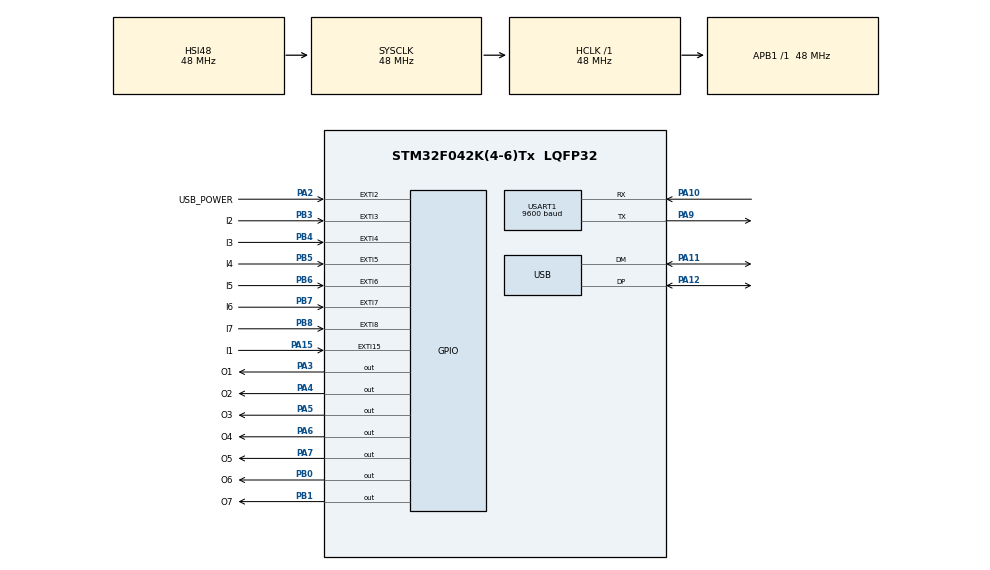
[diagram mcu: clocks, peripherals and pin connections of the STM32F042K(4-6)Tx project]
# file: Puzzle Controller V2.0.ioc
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Mcu.Family=STM32F0
Mcu.Name=STM32F042K(4-6)Tx
Mcu.Package=LQFP32
NVIC.EXTI2_3_IRQn=true\:0\:0\:false\:false\:true\:true
NVIC.EXTI4_15_IRQn=true\:0\:0\:false\:false\:true\:true
NVIC.TIM14_IRQn=true\:0\:0\:false\:false\:true\:true
NVIC.TIM16_IRQn=true\:0\:0\:false\:false\:true\:true
NVIC.USART1_IRQn=true\:0\:0\:false\:false\:true\:true
NVIC.USB_IRQn=true\:0\:0\:false\:false\:true\:false
PA10.Mode=Asynchronous
PA10.Signal=USART1_RX
PA11.Mode=Device
PA11.Signal=USB_DM
PA12.Mode=Device
PA12.Signal=USB_DP
PA15.GPIO_Label=I1
PA15.Signal=GPXTI15
PA2.GPIO_Label=USB_POWER
PA2.Signal=GPXTI2
PA3.GPIO_Label=O1
PA3.Signal=GPIO_Output
PA4.GPIO_Label=O2
PA4.Signal=GPIO_Output
PA5.GPIO_Label=O3
PA5.Signal=GPIO_Output
PA6.GPIO_Label=O4
PA6.Signal=GPIO_Output
PA7.GPIO_Label=O5
PA7.Signal=GPIO_Output
PA9.Mode=Asynchronous
PA9.Signal=USART1_TX
PB0.GPIO_Label=O6
PB0.Signal=GPIO_Output
PB1.GPIO_Label=O7
PB1.Signal=GPIO_Output
PB3.GPIO_Label=I2
PB3.Signal=GPXTI3
PB4.GPIO_Label=I3
PB4.Signal=GPXTI4
PB5.GPIO_Label=I4
PB5.Signal=GPXTI5
PB6.GPIO_Label=I5
PB6.Signal=GPXTI6
PB7.GPIO_Label=I6
PB7.Signal=GPXTI7
PB8.GPIO_Label=I7
PB8.Signal=GPXTI8
ProjectManager.HeapSize=0x200
ProjectManager.StackSize=0x400
ProjectManager.TargetToolchain=TrueSTUDIO
RCC.AHBFreq_Value=48000000
RCC.APB1Freq_Value=48000000
RCC.APB1TimFreq_Value=48000000
RCC.HCLKFreq_Value=48000000
RCC.SYSCLKFreq_VALUE=48000000
RCC.SYSCLKSource=RCC_SYSCLKSOURCE_HSI48
TIM14.Period=1000
TIM14.Prescaler=48000
TIM16.Period=100
TIM16.Prescaler=48000
USART1.BaudRate=9600
USART1.VirtualMode-Asynchronous=VM_ASYNC
USART1.WordLength=WORDLENGTH_8B
USB_DEVICE.APP_RX_DATA_SIZE=200
USB_DEVICE.APP_TX_DATA_SIZE=200
USB_DEVICE.CLASS_NAME_FS=CDC
USB_DEVICE.USBD_MAX_STR_DESC_SIZ=100
USB_DEVICE.VirtualMode=Cdc
USB_DEVICE.VirtualModeFS=Cdc_FS
VP_TIM14_VS_ClockSourceINT.Mode=Enable_Timer
VP_TIM16_VS_ClockSourceINT.Mode=Enable_Timer
VP_USB_DEVICE_VS_USB_DEVICE_CDC_FS.Mode=CDC_FS
board=Puzzle Controller V2.0

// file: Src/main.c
/**
  ******************************************************************************
  * @file           : main.c
  * @brief          : Main program body
  ******************************************************************************
  * This notice applies to any and all portions of this file
  * that are not between comment pairs USER CODE BEGIN and
  * USER CODE END. Other portions of this file, whether
  * inserted by the user or by software development tools
  * are owned by their respective copyright owners.
  *
  * Copyright (c) 2018 STMicroelectronics International N.V.
  * All rights reserved.
  *
  * Redistribution and use in source and binary forms, with or without
  * modification, are permitted, provided that the following conditions are met:
  *
  * 1. Redistribution of source code must retain the above copyright notice,
  *    this list of conditions and the following disclaimer.
  * 2. Redistributions in binary form must reproduce the above copyright notice,
  *    this list of conditions and the following disclaimer in the documentation
  *    and/or other materials provided with the distribution.
  * 3. Neither the name of STMicroelectronics nor the names of other
  *    contributors to this software may be used to endorse or promote products
  *    derived from this software without specific written permission.
  * 4. This software, including modifications and/or derivative works of this
  *    software, must execute solely and exclusively on microcontroller or
  *    microprocessor devices manufactured by or for STMicroelectronics.
  * 5. Redistribution and use of this software other than as permitted under
  *    this license is void and will automatically terminate your rights under
  *    this license.
  *
  * THIS SOFTWARE IS PROVIDED BY STMICROELECTRONICS AND CONTRIBUTORS "AS IS"
  * AND ANY EXPRESS, IMPLIED OR STATUTORY WARRANTIES, INCLUDING, BUT NOT
  * LIMITED TO, THE IMPLIED WARRANTIES OF MERCHANTABILITY, FITNESS FOR A
  * PARTICULAR PURPOSE AND NON-INFRINGEMENT OF THIRD PARTY INTELLECTUAL PROPERTY
  * RIGHTS ARE DISCLAIMED TO THE FULLEST EXTENT PERMITTED BY LAW. IN NO EVENT
  * SHALL STMICROELECTRONICS OR CONTRIBUTORS BE LIABLE FOR ANY DIRECT, INDIRECT,
  * INCIDENTAL, SPECIAL, EXEMPLARY, OR CONSEQUENTIAL DAMAGES (INCLUDING, BUT NOT
  * LIMITED TO, PROCUREMENT OF SUBSTITUTE GOODS OR SERVICES; LOSS OF USE, DATA,
  * OR PROFITS; OR BUSINESS INTERRUPTION) HOWEVER CAUSED AND ON ANY THEORY OF
  * LIABILITY, WHETHER IN CONTRACT, STRICT LIABILITY, OR TORT (INCLUDING
  * NEGLIGENCE OR OTHERWISE) ARISING IN ANY WAY OUT OF THE USE OF THIS SOFTWARE,
  * EVEN IF ADVISED OF THE POSSIBILITY OF SUCH DAMAGE.
  *
  ******************************************************************************
  */
#include "main.h"
#include "stm32f0xx_hal.h"
#include "usb_device.h"

/* USER CODE BEGIN Includes */
#include "myFunctions.h"
#include "variables.h"
#include "MP3.h"
/* USER CODE END Includes */

TIM_HandleTypeDef htim14;
TIM_HandleTypeDef htim16;

UART_HandleTypeDef huart1;

/* USER CODE BEGIN PV */
/* Private variables ---------------------------------------------------------*/

struct uart UART1;
uint8_t startTime = 0;
uint8_t SongStarted = 0;
uint8_t Button_press = 0;
/* USER CODE END PV */

void SystemClock_Config(void);
static void MX_GPIO_Init(void);
static void MX_USART1_UART_Init(void);
static void MX_TIM14_Init(void);
static void MX_TIM16_Init(void);

/* USER CODE BEGIN PFP */
/* Private function prototypes -----------------------------------------------*/
void CompareUSBdata();
/* USER CODE END PFP */

/* USER CODE BEGIN 0 */
void HAL_UART_RxCpltCallback(UART_HandleTypeDef *huart)
{
	static uint8_t i = 0;

	if(huart->Instance == USART1)
	{
		if(UART1.rxbyte != 0xEF)
		{
			UART1.rxbuffer[i] = UART1.rxbyte;
			i++;
		}
		else
		{
			strcpy(UART1.buffercopy, UART1.rxbuffer);
			memset(UART1.rxbuffer, '\0', sizeof(UART1.rxbuffer));
			UART1.dataready = TRUE;
		}
	  HAL_UART_Receive_IT(&huart1, (uint8_t*) &UART1.rxbyte, 1);
	}
}

void CompareUARTdata()
 {
	UART1.dataready = FALSE;
	memset(usb.buffer, '\0', sizeof(usb.buffer));
 }

void CompareUSBdata()
 {
	//HAL_UART_Transmit(&huart1,&usb.buffer[0],strlen(usb.buffer),100);
	if(strncmp (usb.buffer,"play",4) == 0)
	{
		MP3_play();
	}
	if(strncmp (usb.buffer,"pause", 5) == 0)
	{
		MP3_pause();
	}
	else if(strncmp (usb.buffer,"init", 4) == 0)
	{
		MP3_Init();
	}
	else if(strncmp (usb.buffer,"start", 5) == 0)
	{
		MP3_playWithIndex();
	}
	memset(usb.buffer, '\0', sizeof(usb.buffer));
 }
/* USER CODE END 0 */

int main(void)
{

  /* MCU Configuration----------------------------------------------------------*/

  /* Reset of all peripherals, Initializes the Flash interface and the Systick. */
  HAL_Init();

  /* Configure the system clock */
  SystemClock_Config();

  /* Initialize all configured peripherals */
  MX_GPIO_Init();
  MX_USART1_UART_Init();
  MX_TIM14_Init();
  MX_TIM16_Init();
  MX_USB_DEVICE_Init();
  /* USER CODE BEGIN 2 */
  HAL_TIM_Base_Start_IT(&htim14);
  HAL_UART_Receive_IT(&huart1, (uint8_t*) &UART1.rxbyte, 1);
  UART1.dataready = FALSE;
  usb.dataInBuffer = FALSE;

  Output_Write(7,1);
  tick.Value = 0;
  MP3_Init();
  /* USER CODE END 2 */
  /* Infinite loop */
  while (1)
  {

  /* USER CODE BEGIN 3 */
	if(Input_Number != 0)
	{
		switch(Input_Number)
		{
			case 1:
				Pulse(1,800);
			break;
			case 2:
				Pulse(2,800);
			break;
			case 4:
				MP3_playWithIndex();
			break;
			default:
				CDC_Transmit_FS("Input number was out of range\n",30);
				CDC_Transmit_FS(&Input_Number,1);
			break;

		}
		Input_Number = 0;
		Button_press = 0;
		tick.Value = 0;
	}
	if(tick.flag)
	{
		Button_press = 1;
		tick.flag = FALSE;
		Input_Number = PressedButton();
	}
	if(usb.dataInBuffer)
	{
		usb.dataInBuffer = FALSE;
		CompareUSBdata();
	}
	if(UART1.dataready)
	{
		CompareUARTdata();
	}

  }
  /* USER CODE END 3 */

}

void SystemClock_Config(void)
{

  RCC_OscInitTypeDef RCC_OscInitStruct;
  RCC_ClkInitTypeDef RCC_ClkInitStruct;
  RCC_PeriphCLKInitTypeDef PeriphClkInit;

    /**Initializes the CPU, AHB and APB busses clocks
    */
  RCC_OscInitStruct.OscillatorType = RCC_OSCILLATORTYPE_HSI48;
  RCC_OscInitStruct.HSI48State = RCC_HSI48_ON;
  RCC_OscInitStruct.PLL.PLLState = RCC_PLL_NONE;
  if (HAL_RCC_OscConfig(&RCC_OscInitStruct) != HAL_OK)
  {
    _Error_Handler(__FILE__, __LINE__);
  }

    /**Initializes the CPU, AHB and APB busses clocks
    */
  RCC_ClkInitStruct.ClockType = RCC_CLOCKTYPE_HCLK|RCC_CLOCKTYPE_SYSCLK
                              |RCC_CLOCKTYPE_PCLK1;
  RCC_ClkInitStruct.SYSCLKSource = RCC_SYSCLKSOURCE_HSI48;
  RCC_ClkInitStruct.AHBCLKDivider = RCC_SYSCLK_DIV1;
  RCC_ClkInitStruct.APB1CLKDivider = RCC_HCLK_DIV1;

  if (HAL_RCC_ClockConfig(&RCC_ClkInitStruct, FLASH_LATENCY_1) != HAL_OK)
  {
    _Error_Handler(__FILE__, __LINE__);
  }

  PeriphClkInit.PeriphClockSelection = RCC_PERIPHCLK_USB|RCC_PERIPHCLK_USART1;
  PeriphClkInit.Usart1ClockSelection = RCC_USART1CLKSOURCE_PCLK1;
  PeriphClkInit.UsbClockSelection = RCC_USBCLKSOURCE_HSI48;

  if (HAL_RCCEx_PeriphCLKConfig(&PeriphClkInit) != HAL_OK)
  {
    _Error_Handler(__FILE__, __LINE__);
  }

    /**Configure the Systick interrupt time
    */
  HAL_SYSTICK_Config(HAL_RCC_GetHCLKFreq()/1000);

    /**Configure the Systick
    */
  HAL_SYSTICK_CLKSourceConfig(SYSTICK_CLKSOURCE_HCLK);

  /* SysTick_IRQn interrupt configuration */
  HAL_NVIC_SetPriority(SysTick_IRQn, 0, 0);
}

/* TIM14 init function */
static void MX_TIM14_Init(void)
{

  htim14.Instance = TIM14;
  htim14.Init.Prescaler = 48000;
  htim14.Init.CounterMode = TIM_COUNTERMODE_UP;
  htim14.Init.Period = 1000;
  htim14.Init.ClockDivision = TIM_CLOCKDIVISION_DIV1;
  htim14.Init.AutoReloadPreload = TIM_AUTORELOAD_PRELOAD_DISABLE;
  if (HAL_TIM_Base_Init(&htim14) != HAL_OK)
  {
    _Error_Handler(__FILE__, __LINE__);
  }

}

/* TIM16 init function */
static void MX_TIM16_Init(void)
{

  htim16.Instance = TIM16;
  htim16.Init.Prescaler = 48000;
  htim16.Init.CounterMode = TIM_COUNTERMODE_UP;
  htim16.Init.Period = 100;
  htim16.Init.ClockDivision = TIM_CLOCKDIVISION_DIV1;
  htim16.Init.RepetitionCounter = 0;
  htim16.Init.AutoReloadPreload = TIM_AUTORELOAD_PRELOAD_DISABLE;
  if (HAL_TIM_Base_Init(&htim16) != HAL_OK)
  {
    _Error_Handler(__FILE__, __LINE__);
  }

}

/* USART1 init function */
static void MX_USART1_UART_Init(void)
{

  huart1.Instance = USART1;
  huart1.Init.BaudRate = 9600;
  huart1.Init.WordLength = UART_WORDLENGTH_8B;
  huart1.Init.StopBits = UART_STOPBITS_1;
  huart1.Init.Parity = UART_PARITY_NONE;
  huart1.Init.Mode = UART_MODE_TX_RX;
  huart1.Init.HwFlowCtl = UART_HWCONTROL_NONE;
  huart1.Init.OverSampling = UART_OVERSAMPLING_16;
  huart1.Init.OneBitSampling = UART_ONE_BIT_SAMPLE_DISABLE;
  huart1.AdvancedInit.AdvFeatureInit = UART_ADVFEATURE_NO_INIT;
  if (HAL_UART_Init(&huart1) != HAL_OK)
  {
    _Error_Handler(__FILE__, __LINE__);
  }

}

/** Configure pins as
        * Analog
        * Input
        * Output
        * EVENT_OUT
        * EXTI
*/
static void MX_GPIO_Init(void)
{

  GPIO_InitTypeDef GPIO_InitStruct;

  /* GPIO Ports Clock Enable */
  __HAL_RCC_GPIOA_CLK_ENABLE();
  __HAL_RCC_GPIOB_CLK_ENABLE();

  /*Configure GPIO pin Output Level */
  HAL_GPIO_WritePin(GPIOA, O1_Pin|O2_Pin|O3_Pin|O4_Pin
                          |O5_Pin, GPIO_PIN_RESET);

  /*Configure GPIO pin Output Level */
  HAL_GPIO_WritePin(GPIOB, O6_Pin|O7_Pin, GPIO_PIN_RESET);

  /*Configure GPIO pins : USB_POWER_Pin I1_Pin */
  GPIO_InitStruct.Pin = USB_POWER_Pin|I1_Pin;
  GPIO_InitStruct.Mode = GPIO_MODE_IT_RISING;
  GPIO_InitStruct.Pull = GPIO_NOPULL;
  HAL_GPIO_Init(GPIOA, &GPIO_InitStruct);

  /*Configure GPIO pins : O1_Pin O2_Pin O3_Pin O4_Pin
                           O5_Pin */
  GPIO_InitStruct.Pin = O1_Pin|O2_Pin|O3_Pin|O4_Pin
                          |O5_Pin;
  GPIO_InitStruct.Mode = GPIO_MODE_OUTPUT_PP;
  GPIO_InitStruct.Pull = GPIO_NOPULL;
  GPIO_InitStruct.Speed = GPIO_SPEED_FREQ_LOW;
  HAL_GPIO_Init(GPIOA, &GPIO_InitStruct);

  /*Configure GPIO pins : O6_Pin O7_Pin */
  GPIO_InitStruct.Pin = O6_Pin|O7_Pin;
  GPIO_InitStruct.Mode = GPIO_MODE_OUTPUT_PP;
  GPIO_InitStruct.Pull = GPIO_NOPULL;
  GPIO_InitStruct.Speed = GPIO_SPEED_FREQ_LOW;
  HAL_GPIO_Init(GPIOB, &GPIO_InitStruct);

  /*Configure GPIO pins : I2_Pin I3_Pin I4_Pin I5_Pin
                           I6_Pin I7_Pin */
  GPIO_InitStruct.Pin = I2_Pin|I3_Pin|I4_Pin|I5_Pin
                          |I6_Pin|I7_Pin;
  GPIO_InitStruct.Mode = GPIO_MODE_IT_RISING;
  GPIO_InitStruct.Pull = GPIO_NOPULL;
  HAL_GPIO_Init(GPIOB, &GPIO_InitStruct);

  /* EXTI interrupt init*/
  HAL_NVIC_SetPriority(EXTI2_3_IRQn, 0, 0);
  HAL_NVIC_EnableIRQ(EXTI2_3_IRQn);

  HAL_NVIC_SetPriority(EXTI4_15_IRQn, 0, 0);
  HAL_NVIC_EnableIRQ(EXTI4_15_IRQn);

}

void _Error_Handler(char *file, int line)
{
  while(1)
  {
  }
}

/************************ (C) COPYRIGHT STMicroelectronics *****END OF FILE****/
